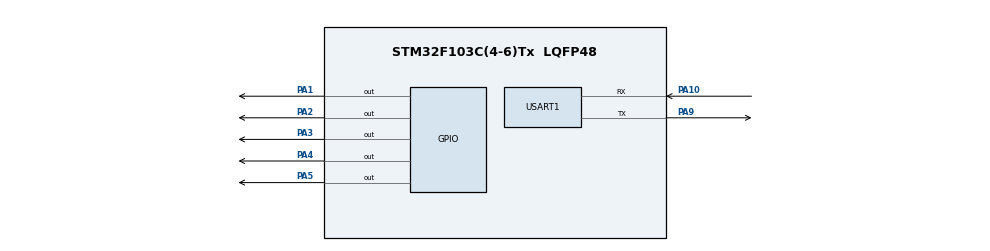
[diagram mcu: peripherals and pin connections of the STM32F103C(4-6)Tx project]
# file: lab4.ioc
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Mcu.Family=STM32F1
Mcu.Name=STM32F103C(4-6)Tx
Mcu.Package=LQFP48
NVIC.PriorityGroup=NVIC_PRIORITYGROUP_4
NVIC.TIM2_IRQn=true\:0\:0\:false\:false\:true\:true\:true
NVIC.USART1_IRQn=true\:0\:0\:false\:false\:true\:true\:true
PA1.Signal=GPIO_Output
PA10.Mode=Asynchronous
PA10.Signal=USART1_RX
PA2.Signal=GPIO_Output
PA3.Signal=GPIO_Output
PA4.Signal=GPIO_Output
PA5.Signal=GPIO_Output
PA9.Mode=Asynchronous
PA9.Signal=USART1_TX
ProjectManager.HeapSize=0x200
ProjectManager.StackSize=0x400
ProjectManager.TargetToolchain=STM32CubeIDE
RCC.APB1Freq_Value=8000000
RCC.APB2Freq_Value=8000000
TIM2.Period=10
TIM2.Prescaler=8000
USART1.VirtualMode=VM_ASYNC
VP_SYS_VS_ND.Mode=No_Debug
VP_TIM2_VS_ClockSourceINT.Mode=Internal
board=custom

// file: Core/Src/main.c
/* USER CODE BEGIN Header */
/**
  ******************************************************************************
  * @file           : main.c
  * @brief          : Main program body
  ******************************************************************************
  * @attention
  *
  * <h2><center>&copy; Copyright (c) 2021 STMicroelectronics.
  * All rights reserved.</center></h2>
  *
  * This software component is licensed by ST under BSD 3-Clause license,
  * the "License"; You may not use this file except in compliance with the
  * License. You may obtain a copy of the License at:
  *                        opensource.org/licenses/BSD-3-Clause
  *
  ******************************************************************************
  */
/* USER CODE END Header */
#include "main.h"

TIM_HandleTypeDef htim2;

UART_HandleTypeDef huart1;

void SystemClock_Config(void);
static void MX_TIM2_Init(void);
static void MX_GPIO_Init(void);
static void MX_USART1_UART_Init(void);

/* USER CODE BEGIN 0 */

void LED_Flash_Init(){
	HAL_GPIO_WritePin(GPIOA, GPIO_PIN_1, 1);
	HAL_GPIO_WritePin(GPIOA, GPIO_PIN_2, 1);
	HAL_GPIO_WritePin(GPIOA, GPIO_PIN_3, 1);
	HAL_GPIO_WritePin(GPIOA, GPIO_PIN_4, 1);
	HAL_GPIO_WritePin(GPIOA, GPIO_PIN_5, 1);

};
int get_time = 0;
void task1(){
	HAL_GPIO_TogglePin(GPIOA, GPIO_PIN_1);
	debugPrintln(&huart1, "1      ");
}

void task2(){
	HAL_GPIO_TogglePin(GPIOA, GPIO_PIN_2);
	debugPrintln(&huart1, "2      ");
}
void task3(){
	HAL_GPIO_TogglePin(GPIOA, GPIO_PIN_3);
	debugPrintln(&huart1, "3      ");
}
void task4(){
	HAL_GPIO_TogglePin(GPIOA, GPIO_PIN_4);
	debugPrintln(&huart1, "4      ");
}
void task5(){
	HAL_GPIO_TogglePin(GPIOA, GPIO_PIN_5);
	debugPrintln(&huart1, "5      ");
}

int timer0_counter = 0 ;
int timer0_flag = 0;

void setTimer0(int duration){
	timer0_counter = duration ;
	timer0_flag = 0;
}

void timer_run(){
	if (timer0_counter > 0 ) {
		timer0_counter--;
	}
	if (timer0_counter == 0 ) {
		timer0_flag = 1;
	}

}

/* USER CODE END 0 */

int main(void)
{

  /* MCU Configuration--------------------------------------------------------*/

  /* Reset of all peripherals, Initializes the Flash interface and the Systick. */
  HAL_Init();

  /* Configure the system clock */
  SystemClock_Config();

  /* Initialize all configured peripherals */
  MX_TIM2_Init();
  MX_GPIO_Init();
  MX_USART1_UART_Init();
  /* USER CODE BEGIN 2 */
  HAL_TIM_Base_Start_IT (& htim2 );
  /* USER CODE END 2 */
  SCH_Add_Task(task1, 0, 50);
  SCH_Add_Task(task2, 1, 100);
  SCH_Add_Task(task3, 2, 150);
  SCH_Add_Task(task4, 3, 200);
  SCH_Add_Task(task5, 4, 250);

  HAL_UART_Transmit(&huart1, "Task      Time", 20, 10);
  char newline[2] = "\r\n";
  HAL_UART_Transmit(&huart1, (uint8_t *) newline, 2, 10);
  /* Infinite loop */
  while (1)
  {
	  SCH_Dispatch_Tasks();
  }
}
void debugPrintln(UART_HandleTypeDef *huart, char _out[]){
	 HAL_UART_Transmit(huart, (uint8_t *) _out, strlen(_out), 10);
	 char _str[10];
	 itoa(get_time,_str,10);
	 HAL_UART_Transmit(huart, (uint8_t *) _str, strlen(_str), 10);
	 char dvi_tg[] = " ms";
	 HAL_UART_Transmit(&huart1, (uint8_t *) dvi_tg, 3, 10);
	 char newline[2] = "\r\n";
	 HAL_UART_Transmit(&huart1, (uint8_t *) newline, 2, 10);
}
void SystemClock_Config(void)
{
  RCC_OscInitTypeDef RCC_OscInitStruct = {0};
  RCC_ClkInitTypeDef RCC_ClkInitStruct = {0};

  /** Initializes the RCC Oscillators according to the specified parameters
  * in the RCC_OscInitTypeDef structure.
  */
  RCC_OscInitStruct.OscillatorType = RCC_OSCILLATORTYPE_HSI;
  RCC_OscInitStruct.HSIState = RCC_HSI_ON;
  RCC_OscInitStruct.HSICalibrationValue = RCC_HSICALIBRATION_DEFAULT;
  RCC_OscInitStruct.PLL.PLLState = RCC_PLL_NONE;
  if (HAL_RCC_OscConfig(&RCC_OscInitStruct) != HAL_OK)
  {
    Error_Handler();
  }
  /** Initializes the CPU, AHB and APB buses clocks
  */
  RCC_ClkInitStruct.ClockType = RCC_CLOCKTYPE_HCLK|RCC_CLOCKTYPE_SYSCLK
                              |RCC_CLOCKTYPE_PCLK1|RCC_CLOCKTYPE_PCLK2;
  RCC_ClkInitStruct.SYSCLKSource = RCC_SYSCLKSOURCE_HSI;
  RCC_ClkInitStruct.AHBCLKDivider = RCC_SYSCLK_DIV1;
  RCC_ClkInitStruct.APB1CLKDivider = RCC_HCLK_DIV1;
  RCC_ClkInitStruct.APB2CLKDivider = RCC_HCLK_DIV1;

  if (HAL_RCC_ClockConfig(&RCC_ClkInitStruct, FLASH_LATENCY_0) != HAL_OK)
  {
    Error_Handler();
  }
}

static void MX_TIM2_Init(void)
{

  TIM_ClockConfigTypeDef sClockSourceConfig = {0};
  TIM_MasterConfigTypeDef sMasterConfig = {0};

  htim2.Instance = TIM2;
  htim2.Init.Prescaler = 8000;
  htim2.Init.CounterMode = TIM_COUNTERMODE_UP;
  htim2.Init.Period = 10;
  htim2.Init.ClockDivision = TIM_CLOCKDIVISION_DIV1;
  htim2.Init.AutoReloadPreload = TIM_AUTORELOAD_PRELOAD_DISABLE;
  if (HAL_TIM_Base_Init(&htim2) != HAL_OK)
  {
    Error_Handler();
  }
  sClockSourceConfig.ClockSource = TIM_CLOCKSOURCE_INTERNAL;
  if (HAL_TIM_ConfigClockSource(&htim2, &sClockSourceConfig) != HAL_OK)
  {
    Error_Handler();
  }
  sMasterConfig.MasterOutputTrigger = TIM_TRGO_RESET;
  sMasterConfig.MasterSlaveMode = TIM_MASTERSLAVEMODE_DISABLE;
  if (HAL_TIMEx_MasterConfigSynchronization(&htim2, &sMasterConfig) != HAL_OK)
  {
    Error_Handler();
  }

}

static void MX_USART1_UART_Init(void)
{

  huart1.Instance = USART1;
  huart1.Init.BaudRate = 115200;
  huart1.Init.WordLength = UART_WORDLENGTH_8B;
  huart1.Init.StopBits = UART_STOPBITS_1;
  huart1.Init.Parity = UART_PARITY_NONE;
  huart1.Init.Mode = UART_MODE_TX_RX;
  huart1.Init.HwFlowCtl = UART_HWCONTROL_NONE;
  huart1.Init.OverSampling = UART_OVERSAMPLING_16;
  if (HAL_UART_Init(&huart1) != HAL_OK)
  {
    Error_Handler();
  }

}

static void MX_GPIO_Init(void)
{
  GPIO_InitTypeDef GPIO_InitStruct = {0};

  /* GPIO Ports Clock Enable */
  __HAL_RCC_GPIOA_CLK_ENABLE();

  /*Configure GPIO pin Output Level */
  HAL_GPIO_WritePin(GPIOA, GPIO_PIN_1|GPIO_PIN_2|GPIO_PIN_3|GPIO_PIN_4
                          |GPIO_PIN_5, GPIO_PIN_RESET);

  /*Configure GPIO pins : PA1 PA2 PA3 PA4
                           PA5 */
  GPIO_InitStruct.Pin = GPIO_PIN_1|GPIO_PIN_2|GPIO_PIN_3|GPIO_PIN_4
                          |GPIO_PIN_5;
  GPIO_InitStruct.Mode = GPIO_MODE_OUTPUT_PP;
  GPIO_InitStruct.Pull = GPIO_NOPULL;
  GPIO_InitStruct.Speed = GPIO_SPEED_FREQ_LOW;
  HAL_GPIO_Init(GPIOA, &GPIO_InitStruct);

}

/* USER CODE BEGIN 4 */

void HAL_TIM_PeriodElapsedCallback(TIM_HandleTypeDef *htim)
{
	if(htim->Instance == TIM2){
		SCH_Update();
		timer_run();
		get_time++;
	}
}

/* USER CODE END 4 */

void Error_Handler(void)
{
  __disable_irq();
  while (1)
  {
  }
}

/************************ (C) COPYRIGHT STMicroelectronics *****END OF FILE****/
